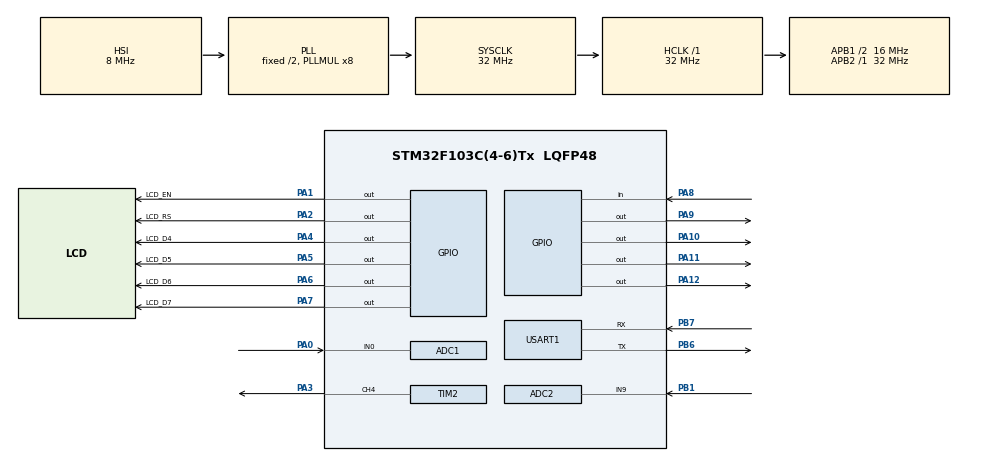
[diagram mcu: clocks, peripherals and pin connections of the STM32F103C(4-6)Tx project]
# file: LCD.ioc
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ADC1.Channel-0\#ChannelRegularConversion=ADC_CHANNEL_0
ADC1.ContinuousConvMode=ENABLE
ADC1.NbrOfConversionFlag=1
ADC1.Rank-0\#ChannelRegularConversion=1
ADC1.SamplingTime-0\#ChannelRegularConversion=ADC_SAMPLETIME_55CYCLES_5
ADC1.master=1
ADC2.Channel-0\#ChannelRegularConversion=ADC_CHANNEL_9
ADC2.NbrOfConversionFlag=1
ADC2.Rank-0\#ChannelRegularConversion=1
ADC2.SamplingTime-0\#ChannelRegularConversion=ADC_SAMPLETIME_1CYCLE_5
Mcu.Family=STM32F1
Mcu.Name=STM32F103C(4-6)Tx
Mcu.Package=LQFP48
NVIC.PriorityGroup=NVIC_PRIORITYGROUP_4
NVIC.TIM1_UP_IRQn=true\:0\:0\:false\:false\:true\:true\:true\:true
NVIC.USART1_IRQn=true\:0\:0\:false\:false\:true\:true\:true\:true
PA0-WKUP.Signal=ADCx_IN0
PA1.GPIO_Label=LCD_EN
PA1.Signal=GPIO_Output
PA10.Signal=GPIO_Output
PA11.Signal=GPIO_Output
PA12.Signal=GPIO_Output
PA2.GPIO_Label=LCD_RS
PA2.Signal=GPIO_Output
PA3.Signal=S_TIM2_CH4
PA4.GPIO_Label=LCD_D4
PA4.Signal=GPIO_Output
PA5.GPIO_Label=LCD_D5
PA5.Signal=GPIO_Output
PA6.GPIO_Label=LCD_D6
PA6.Signal=GPIO_Output
PA7.GPIO_Label=LCD_D7
PA7.Signal=GPIO_Output
PA8.Signal=GPIO_Input
PA9.Signal=GPIO_Output
PB1.Signal=ADCx_IN9
PB6.Mode=Asynchronous
PB6.Signal=USART1_TX
PB7.Mode=Asynchronous
PB7.Signal=USART1_RX
PD0-OSC_IN.Mode=HSE-External-Oscillator
PD0-OSC_IN.Signal=RCC_OSC_IN
PD1-OSC_OUT.Mode=HSE-External-Oscillator
PD1-OSC_OUT.Signal=RCC_OSC_OUT
ProjectManager.HeapSize=0x200
ProjectManager.StackSize=0x400
ProjectManager.TargetToolchain=MDK-ARM V5.32
RCC.ADCPresc=RCC_ADCPCLK2_DIV4
RCC.AHBFreq_Value=32000000
RCC.APB1CLKDivider=RCC_HCLK_DIV2
RCC.APB1Freq_Value=16000000
RCC.APB1TimFreq_Value=32000000
RCC.APB2Freq_Value=32000000
RCC.APB2TimFreq_Value=32000000
RCC.HCLKFreq_Value=32000000
RCC.PLLMUL=RCC_PLL_MUL8
RCC.SYSCLKFreq_VALUE=32000000
RCC.SYSCLKSource=RCC_SYSCLKSOURCE_PLLCLK
RCC.USBFreq_Value=32000000
SH.ADCx_IN0.0=ADC1_IN0,IN0
SH.ADCx_IN9.0=ADC2_IN9,IN9
SH.S_TIM2_CH4.0=TIM2_CH4,PWM Generation4 CH4
TIM1.Prescaler=71
TIM2.Channel-PWM\ Generation4\ CH4=TIM_CHANNEL_4
TIM2.Prescaler=21
USART1.VirtualMode=VM_ASYNC
VP_SYS_VS_ND.Mode=No_Debug
VP_TIM1_VS_ClockSourceINT.Mode=Internal
board=custom

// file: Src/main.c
/* USER CODE BEGIN Header */
/**
  ******************************************************************************
  * @file           : main.c
  * @brief          : Main program body
  ******************************************************************************
  * @attention
  *
  * Copyright (c) 2024 STMicroelectronics.
  * All rights reserved.
  *
  * This software is licensed under terms that can be found in the LICENSE file
  * in the root directory of this software component.
  * If no LICENSE file comes with this software, it is provided AS-IS.
  *
  ******************************************************************************
  */
/* USER CODE END Header */
#include "main.h"

/* USER CODE BEGIN Includes */
#include "LCD.H"
#include <stdio.h>
#include <math.h>
/* USER CODE END Includes */

ADC_HandleTypeDef hadc1;
ADC_HandleTypeDef hadc2;

TIM_HandleTypeDef htim1;
TIM_HandleTypeDef htim2;

UART_HandleTypeDef huart1;

/* USER CODE BEGIN PV */
#define TRIG_PIN GPIO_PIN_9
#define TRIG_PORT GPIOA
#define ECHO_PIN GPIO_PIN_8
#define ECHO_PORT GPIOA
uint32_t pMillis;
uint32_t Value1 = 0;
uint32_t Value2 = 0;
uint16_t Distance  = 0;  // cm
/* USER CODE END PV */

void SystemClock_Config(void);
static void MX_GPIO_Init(void);
static void MX_TIM1_Init(void);
static void MX_ADC1_Init(void);
static void MX_ADC2_Init(void);
static void MX_TIM2_Init(void);
static void MX_USART1_UART_Init(void);

/* USER CODE BEGIN 0 */

	uint16_t readValue;
	float tCelsius;
	float tCelsius2;
	float tFahrenheit;

	  void tempSensor(){
		HAL_ADC_Start(&hadc1);
		HAL_ADC_PollForConversion(&hadc1,1000);
    readValue = HAL_ADC_GetValue(&hadc1);
		tCelsius = 357.558 - 0.187364 * readValue;
		tCelsius2 = (0.12195*readValue)-0.14465;
    tFahrenheit = 675.6 - 0.337255 * readValue;
    if ( tCelsius2 > 50)
    {
      HAL_GPIO_WritePin(GPIOA, GPIO_PIN_10, GPIO_PIN_SET);
			HAL_GPIO_WritePin(GPIOA, GPIO_PIN_13, GPIO_PIN_RESET);
    }else if(tCelsius2 > 30)
    {
      HAL_GPIO_WritePin(GPIOA, GPIO_PIN_13, GPIO_PIN_SET);
			HAL_GPIO_WritePin(GPIOA, GPIO_PIN_10, GPIO_PIN_RESET);
    }
    else
    {
      HAL_GPIO_WritePin(GPIOA, GPIO_PIN_10, 0);
			HAL_GPIO_WritePin(GPIOA, GPIO_PIN_13, 0);

    }

		HAL_ADC_Stop(&hadc1);

		}
/*
		void delay_us(uint16_t us)
{
	__HAL_TIM_SET_COUNTER(&htim2,0);  // set the counter value a 0
	while (__HAL_TIM_GET_COUNTER(&htim2) < us);  // wait for the counter to reach the us input in the parameter
}

		float sensor_read()
{
		uint32_t time = 0;
		float distance_temp = 0;
		HAL_GPIO_WritePin(GPIOB, trigger_Pin, GPIO_PIN_RESET);
		delay_us(10);
		HAL_GPIO_WritePin(GPIOB, trigger_Pin, GPIO_PIN_SET);
		delay_us(10);
		HAL_GPIO_WritePin(GPIOB, trigger_Pin, GPIO_PIN_RESET);
		delay_us(10);
		while (!HAL_GPIO_ReadPin(GPIOB, echo_Pin));
		while (HAL_GPIO_ReadPin(GPIOB, echo_Pin))
		{
			time++;
			delay_us(1);
		}
	distance_temp = (float) time*0.87;
	delay_us(50);
	return distance_temp;
}*/
/* USER CODE END 0 */

int main(void)
{

  /* MCU Configuration--------------------------------------------------------*/

  /* Reset of all peripherals, Initializes the Flash interface and the Systick. */
  HAL_Init();

  /* Configure the system clock */
  SystemClock_Config();

  /* Initialize all configured peripherals */
  MX_GPIO_Init();
  MX_TIM1_Init();
  MX_ADC1_Init();
  MX_ADC2_Init();
  MX_TIM2_Init();
  MX_USART1_UART_Init();
  /* USER CODE BEGIN 2 */
	// HAL_TIM_PWM_Start(&htim2,TIM_CHANNEL_4);
	HAL_ADCEx_Calibration_Start(&hadc2);

	//Distance sensor
	HAL_TIM_Base_Start(&htim1);
	HAL_GPIO_WritePin(TRIG_PORT, TRIG_PIN, GPIO_PIN_RESET);

	lcd_init(_LCD_4BIT, _LCD_FONT_5x8, _LCD_2LINE);
	lcd_print(1,1,"lcd acilis");
	lcd_print(1,1,"lcd acilis");
	HAL_Delay(100);
	char number[32]="";
	char temp[32]="";
	char data[32]="";
	uint8_t data2[8];

  /* USER CODE END 2 */

  /* Infinite loop */
  /* USER CODE BEGIN WHILE */
	/* BUZZER */
	uint32_t adcReturnValue = 0;
	int8_t n = 0;
	double_t noteFreq = 440;
	uint16_t arr = 1000;

  while (1)
  {
/*
		HAL_ADC_Start(&hadc1);

		if ( HAL_ADC_PollForConversion(&hadc2,1000) == HAL_OK){
			adcReturnValue = HAL_ADC_GetValue(&hadc2);
			// n = floor(adcReturnValue / 42.217) - 36;
			//n = floor(song[songCounter] / 42.217) - 36;
			n=1;
			noteFreq = 440*pow(1.059463094359, n);

			arr = (double_t)72000000 / noteFreq / (htim2.Init.Prescaler+ 1) - 1;
			__HAL_TIM_SET_AUTORELOAD(&htim2, arr);//set the new period
			__HAL_TIM_SET_COMPARE(&htim2, TIM_CHANNEL_4, (int)arr/2);//keep 50% duty cycle
		}
		HAL_Delay(1000);

		HAL_ADC_Stop(&hadc2);
*/

    /* USER CODE END WHILE */

    /* USER CODE BEGIN 3 */

HAL_GPIO_WritePin(TRIG_PORT, TRIG_PIN, GPIO_PIN_SET);  // pull the TRIG pin HIGH
    __HAL_TIM_SET_COUNTER(&htim1, 0);
    while (__HAL_TIM_GET_COUNTER (&htim1) < 10);  // wait for 10 us
    HAL_GPIO_WritePin(TRIG_PORT, TRIG_PIN, GPIO_PIN_RESET);  // pull the TRIG pin low

    pMillis = HAL_GetTick(); // used this to avoid infinite while loop  (for timeout)
    // wait for the echo pin to go high
    while (!(HAL_GPIO_ReadPin (ECHO_PORT, ECHO_PIN)) && pMillis + 10 >  HAL_GetTick());
    Value1 = __HAL_TIM_GET_COUNTER (&htim1);

    pMillis = HAL_GetTick(); // used this to avoid infinite while loop (for timeout)
    // wait for the echo pin to go low
    while ((HAL_GPIO_ReadPin (ECHO_PORT, ECHO_PIN)) && pMillis + 50 > HAL_GetTick());
    Value2 = __HAL_TIM_GET_COUNTER (&htim1);

    Distance = (Value2-Value1)* 0.034/2;
    HAL_Delay(50);

if (Distance <= 9) {  // Assuming Distance is in centimeters
    // Blink the LED
    HAL_GPIO_WritePin(GPIOA, GPIO_PIN_12, GPIO_PIN_SET);
    HAL_Delay(100);  // Delay for 100 ms
    HAL_GPIO_WritePin(GPIOA, GPIO_PIN_12, GPIO_PIN_RESET);
} else {
    // Blink the LED
    HAL_GPIO_WritePin(GPIOA, GPIO_PIN_11, GPIO_PIN_SET);
    HAL_Delay(100);  // Delay for 100 ms
    HAL_GPIO_WritePin(GPIOA, GPIO_PIN_11, GPIO_PIN_RESET);
}

//Distance = ceil(Distance);  // Round up the distance

		tempSensor();

		sprintf(number,"Distance : %d", (int) Distance);
		sprintf(temp,"Temperature : %d \r\n", (int) tCelsius2);

		HAL_UART_Transmit(&huart1, (uint8_t*)number, sizeof(number), HAL_MAX_DELAY);
		HAL_UART_Transmit(&huart1, (uint8_t*)temp, sizeof(temp), HAL_MAX_DELAY);
		lcd_print(1,1,temp);
		lcd_print(1,1,temp);
		lcd_print(2,1,number);
		lcd_print(2,1,number);
		HAL_Delay(100);

}

  /* USER CODE END 3 */
}

void SystemClock_Config(void)
{
  RCC_OscInitTypeDef RCC_OscInitStruct = {0};
  RCC_ClkInitTypeDef RCC_ClkInitStruct = {0};
  RCC_PeriphCLKInitTypeDef PeriphClkInit = {0};

  /** Initializes the RCC Oscillators according to the specified parameters
  * in the RCC_OscInitTypeDef structure.
  */
  RCC_OscInitStruct.OscillatorType = RCC_OSCILLATORTYPE_HSI;
  RCC_OscInitStruct.HSIState = RCC_HSI_ON;
  RCC_OscInitStruct.HSICalibrationValue = RCC_HSICALIBRATION_DEFAULT;
  RCC_OscInitStruct.PLL.PLLState = RCC_PLL_ON;
  RCC_OscInitStruct.PLL.PLLSource = RCC_PLLSOURCE_HSI_DIV2;
  RCC_OscInitStruct.PLL.PLLMUL = RCC_PLL_MUL8;
  if (HAL_RCC_OscConfig(&RCC_OscInitStruct) != HAL_OK)
  {
    Error_Handler();
  }

  /** Initializes the CPU, AHB and APB buses clocks
  */
  RCC_ClkInitStruct.ClockType = RCC_CLOCKTYPE_HCLK|RCC_CLOCKTYPE_SYSCLK
                              |RCC_CLOCKTYPE_PCLK1|RCC_CLOCKTYPE_PCLK2;
  RCC_ClkInitStruct.SYSCLKSource = RCC_SYSCLKSOURCE_PLLCLK;
  RCC_ClkInitStruct.AHBCLKDivider = RCC_SYSCLK_DIV1;
  RCC_ClkInitStruct.APB1CLKDivider = RCC_HCLK_DIV2;
  RCC_ClkInitStruct.APB2CLKDivider = RCC_HCLK_DIV1;

  if (HAL_RCC_ClockConfig(&RCC_ClkInitStruct, FLASH_LATENCY_1) != HAL_OK)
  {
    Error_Handler();
  }
  PeriphClkInit.PeriphClockSelection = RCC_PERIPHCLK_ADC;
  PeriphClkInit.AdcClockSelection = RCC_ADCPCLK2_DIV4;
  if (HAL_RCCEx_PeriphCLKConfig(&PeriphClkInit) != HAL_OK)
  {
    Error_Handler();
  }
}

static void MX_ADC1_Init(void)
{

  ADC_ChannelConfTypeDef sConfig = {0};

  /** Common config
  */
  hadc1.Instance = ADC1;
  hadc1.Init.ScanConvMode = ADC_SCAN_DISABLE;
  hadc1.Init.ContinuousConvMode = ENABLE;
  hadc1.Init.DiscontinuousConvMode = DISABLE;
  hadc1.Init.ExternalTrigConv = ADC_SOFTWARE_START;
  hadc1.Init.DataAlign = ADC_DATAALIGN_RIGHT;
  hadc1.Init.NbrOfConversion = 1;
  if (HAL_ADC_Init(&hadc1) != HAL_OK)
  {
    Error_Handler();
  }

  /** Configure Regular Channel
  */
  sConfig.Channel = ADC_CHANNEL_0;
  sConfig.Rank = ADC_REGULAR_RANK_1;
  sConfig.SamplingTime = ADC_SAMPLETIME_55CYCLES_5;
  if (HAL_ADC_ConfigChannel(&hadc1, &sConfig) != HAL_OK)
  {
    Error_Handler();
  }

}

static void MX_ADC2_Init(void)
{

  ADC_ChannelConfTypeDef sConfig = {0};

  /** Common config
  */
  hadc2.Instance = ADC2;
  hadc2.Init.ScanConvMode = ADC_SCAN_DISABLE;
  hadc2.Init.ContinuousConvMode = DISABLE;
  hadc2.Init.DiscontinuousConvMode = DISABLE;
  hadc2.Init.ExternalTrigConv = ADC_SOFTWARE_START;
  hadc2.Init.DataAlign = ADC_DATAALIGN_RIGHT;
  hadc2.Init.NbrOfConversion = 1;
  if (HAL_ADC_Init(&hadc2) != HAL_OK)
  {
    Error_Handler();
  }

  /** Configure Regular Channel
  */
  sConfig.Channel = ADC_CHANNEL_9;
  sConfig.Rank = ADC_REGULAR_RANK_1;
  sConfig.SamplingTime = ADC_SAMPLETIME_1CYCLE_5;
  if (HAL_ADC_ConfigChannel(&hadc2, &sConfig) != HAL_OK)
  {
    Error_Handler();
  }

}

static void MX_TIM1_Init(void)
{

  TIM_ClockConfigTypeDef sClockSourceConfig = {0};
  TIM_MasterConfigTypeDef sMasterConfig = {0};

  htim1.Instance = TIM1;
  htim1.Init.Prescaler = 71;
  htim1.Init.CounterMode = TIM_COUNTERMODE_UP;
  htim1.Init.Period = 65535;
  htim1.Init.ClockDivision = TIM_CLOCKDIVISION_DIV1;
  htim1.Init.RepetitionCounter = 0;
  htim1.Init.AutoReloadPreload = TIM_AUTORELOAD_PRELOAD_DISABLE;
  if (HAL_TIM_Base_Init(&htim1) != HAL_OK)
  {
    Error_Handler();
  }
  sClockSourceConfig.ClockSource = TIM_CLOCKSOURCE_INTERNAL;
  if (HAL_TIM_ConfigClockSource(&htim1, &sClockSourceConfig) != HAL_OK)
  {
    Error_Handler();
  }
  sMasterConfig.MasterOutputTrigger = TIM_TRGO_RESET;
  sMasterConfig.MasterSlaveMode = TIM_MASTERSLAVEMODE_DISABLE;
  if (HAL_TIMEx_MasterConfigSynchronization(&htim1, &sMasterConfig) != HAL_OK)
  {
    Error_Handler();
  }

}

static void MX_TIM2_Init(void)
{

  TIM_MasterConfigTypeDef sMasterConfig = {0};
  TIM_OC_InitTypeDef sConfigOC = {0};

  htim2.Instance = TIM2;
  htim2.Init.Prescaler = 21;
  htim2.Init.CounterMode = TIM_COUNTERMODE_UP;
  htim2.Init.Period = 65535;
  htim2.Init.ClockDivision = TIM_CLOCKDIVISION_DIV1;
  htim2.Init.AutoReloadPreload = TIM_AUTORELOAD_PRELOAD_DISABLE;
  if (HAL_TIM_PWM_Init(&htim2) != HAL_OK)
  {
    Error_Handler();
  }
  sMasterConfig.MasterOutputTrigger = TIM_TRGO_RESET;
  sMasterConfig.MasterSlaveMode = TIM_MASTERSLAVEMODE_DISABLE;
  if (HAL_TIMEx_MasterConfigSynchronization(&htim2, &sMasterConfig) != HAL_OK)
  {
    Error_Handler();
  }
  sConfigOC.OCMode = TIM_OCMODE_PWM1;
  sConfigOC.Pulse = 0;
  sConfigOC.OCPolarity = TIM_OCPOLARITY_HIGH;
  sConfigOC.OCFastMode = TIM_OCFAST_DISABLE;
  if (HAL_TIM_PWM_ConfigChannel(&htim2, &sConfigOC, TIM_CHANNEL_4) != HAL_OK)
  {
    Error_Handler();
  }
  HAL_TIM_MspPostInit(&htim2);

}

static void MX_USART1_UART_Init(void)
{

  huart1.Instance = USART1;
  huart1.Init.BaudRate = 115200;
  huart1.Init.WordLength = UART_WORDLENGTH_8B;
  huart1.Init.StopBits = UART_STOPBITS_1;
  huart1.Init.Parity = UART_PARITY_NONE;
  huart1.Init.Mode = UART_MODE_TX_RX;
  huart1.Init.HwFlowCtl = UART_HWCONTROL_NONE;
  huart1.Init.OverSampling = UART_OVERSAMPLING_16;
  if (HAL_UART_Init(&huart1) != HAL_OK)
  {
    Error_Handler();
  }

}

static void MX_GPIO_Init(void)
{
  GPIO_InitTypeDef GPIO_InitStruct = {0};

  /* GPIO Ports Clock Enable */
  __HAL_RCC_GPIOD_CLK_ENABLE();
  __HAL_RCC_GPIOA_CLK_ENABLE();
  __HAL_RCC_GPIOB_CLK_ENABLE();

  /*Configure GPIO pin Output Level */
  HAL_GPIO_WritePin(GPIOA, LCD_EN_Pin|LCD_RS_Pin|LCD_D4_Pin|LCD_D5_Pin
                          |LCD_D6_Pin|LCD_D7_Pin|GPIO_PIN_9|GPIO_PIN_10
                          |GPIO_PIN_11|GPIO_PIN_12, GPIO_PIN_RESET);

  /*Configure GPIO pins : LCD_EN_Pin LCD_RS_Pin LCD_D4_Pin LCD_D5_Pin
                           LCD_D6_Pin LCD_D7_Pin PA9 PA10
                           PA11 PA12 */
  GPIO_InitStruct.Pin = LCD_EN_Pin|LCD_RS_Pin|LCD_D4_Pin|LCD_D5_Pin
                          |LCD_D6_Pin|LCD_D7_Pin|GPIO_PIN_9|GPIO_PIN_10
                          |GPIO_PIN_11|GPIO_PIN_12;
  GPIO_InitStruct.Mode = GPIO_MODE_OUTPUT_PP;
  GPIO_InitStruct.Pull = GPIO_NOPULL;
  GPIO_InitStruct.Speed = GPIO_SPEED_FREQ_LOW;
  HAL_GPIO_Init(GPIOA, &GPIO_InitStruct);

  /*Configure GPIO pin : PA8 */
  GPIO_InitStruct.Pin = GPIO_PIN_8;
  GPIO_InitStruct.Mode = GPIO_MODE_INPUT;
  GPIO_InitStruct.Pull = GPIO_NOPULL;
  HAL_GPIO_Init(GPIOA, &GPIO_InitStruct);

}

void Error_Handler(void)
{
  __disable_irq();
  while (1)
  {
  }
}
